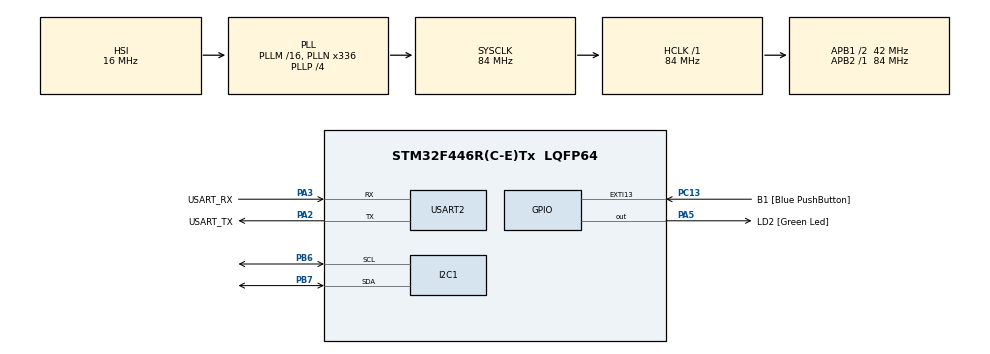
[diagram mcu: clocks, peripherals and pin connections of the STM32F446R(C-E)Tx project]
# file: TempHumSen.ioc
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Dma.Request0=USART2_TX
Dma.USART2_TX.0.Direction=DMA_MEMORY_TO_PERIPH
Dma.USART2_TX.0.FIFOMode=DMA_FIFOMODE_DISABLE
Dma.USART2_TX.0.Instance=DMA1_Stream6
Dma.USART2_TX.0.MemDataAlignment=DMA_MDATAALIGN_BYTE
Dma.USART2_TX.0.MemInc=DMA_MINC_ENABLE
Dma.USART2_TX.0.Mode=DMA_NORMAL
Dma.USART2_TX.0.PeriphDataAlignment=DMA_PDATAALIGN_BYTE
Dma.USART2_TX.0.PeriphInc=DMA_PINC_DISABLE
Dma.USART2_TX.0.Priority=DMA_PRIORITY_LOW
Mcu.Family=STM32F4
Mcu.Name=STM32F446R(C-E)Tx
Mcu.Package=LQFP64
NVIC.DMA1_Stream6_IRQn=true\:0\:0\:false\:false\:true\:false\:true\:true
NVIC.EXTI15_10_IRQn=true\:0\:0\:false\:false\:true\:true\:true\:true
NVIC.PriorityGroup=NVIC_PRIORITYGROUP_4
NVIC.TIM1_BRK_TIM9_IRQn=true\:0\:0\:false\:false\:true\:true\:true\:true
NVIC.TIM1_CC_IRQn=true\:0\:0\:false\:false\:true\:true\:true\:true
NVIC.TIM1_TRG_COM_TIM11_IRQn=true\:0\:0\:false\:false\:true\:true\:true\:true
NVIC.TIM1_UP_TIM10_IRQn=true\:0\:0\:false\:false\:true\:true\:true\:true
NVIC.TIM2_IRQn=true\:0\:0\:false\:false\:true\:true\:true\:true
PA13.GPIO_Label=TMS
PA13.Mode=Serial_Wire
PA13.Signal=SYS_JTMS-SWDIO
PA14.GPIO_Label=TCK
PA14.Mode=Serial_Wire
PA14.Signal=SYS_JTCK-SWCLK
PA2.GPIO_Label=USART_TX
PA2.Mode=Asynchronous
PA2.Signal=USART2_TX
PA3.GPIO_Label=USART_RX
PA3.Mode=Asynchronous
PA3.Signal=USART2_RX
PA5.GPIO_Label=LD2 [Green Led]
PA5.Signal=GPIO_Output
PB3.GPIO_Label=SWO
PB3.Signal=SYS_JTDO-SWO
PB6.GPIO_Pu=GPIO_PULLUP
PB6.Mode=I2C
PB6.Signal=I2C1_SCL
PB7.GPIO_Pu=GPIO_PULLUP
PB7.Mode=I2C
PB7.Signal=I2C1_SDA
PC13.GPIO_Label=B1 [Blue PushButton]
PC13.GPIO_ModeDefaultEXTI=GPIO_MODE_IT_FALLING
PC13.Signal=GPXTI13
PC14-OSC32_IN.Mode=LSE-External-Oscillator
PC14-OSC32_IN.Signal=RCC_OSC32_IN
PC15-OSC32_OUT.Mode=LSE-External-Oscillator
PC15-OSC32_OUT.Signal=RCC_OSC32_OUT
PH0-OSC_IN.Mode=HSE-External-Oscillator
PH0-OSC_IN.Signal=RCC_OSC_IN
PH1-OSC_OUT.Mode=HSE-External-Oscillator
PH1-OSC_OUT.Signal=RCC_OSC_OUT
ProjectManager.HeapSize=0x200
ProjectManager.StackSize=0x400
ProjectManager.TargetToolchain=CMake
RCC.48MHZClocksFreq_Value=84000000
RCC.AHBFreq_Value=84000000
RCC.APB1CLKDivider=RCC_HCLK_DIV2
RCC.APB1Freq_Value=42000000
RCC.APB1TimFreq_Value=84000000
RCC.APB2Freq_Value=84000000
RCC.APB2TimFreq_Value=84000000
RCC.CortexFreq_Value=84000000
RCC.FLatency-AdvancedSettings=FLASH_LATENCY_2
RCC.HCLKFreq_Value=84000000
RCC.HSE_VALUE=8000000
RCC.HSI_VALUE=16000000
RCC.PLLN=336
RCC.PLLP=RCC_PLLP_DIV4
RCC.SYSCLKFreq_VALUE=84000000
RCC.SYSCLKSource=RCC_SYSCLKSOURCE_PLLCLK
RCC.USBFreq_Value=168000000
RCC.VCOOutputFreq_Value=336000000
TIM1.Period=19999
TIM1.Prescaler=8399
TIM2.Period=999
TIM2.Prescaler=83
USART2.VirtualMode=VM_ASYNC
VP_TIM1_VS_ClockSourceINT.Mode=Internal
VP_TIM2_VS_ClockSourceINT.Mode=Internal
board=NUCLEO-F446RE

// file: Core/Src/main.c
/* USER CODE BEGIN Header */
/**
 ******************************************************************************
 * @file           : main.c
 * @brief          : Main program body
 ******************************************************************************
 * @attention
 *
 * Copyright (c) 2026 STMicroelectronics.
 * All rights reserved.
 *
 * This software is licensed under terms that can be found in the LICENSE file
 * in the root directory of this software component.
 * If no LICENSE file comes with this software, it is provided AS-IS.
 *
 ******************************************************************************
 */
/* USER CODE END Header */
#include "main.h"
#include "dma.h"
#include "i2c.h"
#include "tim.h"
#include "usart.h"
#include "gpio.h"

/* USER CODE BEGIN Includes */
#include "NanoEdgeAI.h"
#include "stdbool.h"
#include "stm32f4xx_hal.h"
#include "stm32f4xx_hal_gpio.h"
#include "stm32f4xx_hal_i2c.h"
#include "stm32f4xx_hal_rcc.h"
#include "stm32f4xx_hal_uart.h"
#include <stdio.h>
#include <string.h>

#define HTU21D_ADDR (0x40 << 1) // I2C address of the HTU21D sensor
#define Timeout_delay 100
#define BUFFER_SIZE 11
#define FEATURES_PER_SAMPLE 2
/* USER CODE END Includes */

/* USER CODE BEGIN PV */
uint8_t uart_tx_buffer[64];
uint8_t data[3];
uint8_t temp_cmd = 0xE3;
uint8_t hum_cmd = 0xE5;

typedef struct {
  uint8_t index;
} RingBuffer;

typedef struct {
  float data[BUFFER_SIZE * FEATURES_PER_SAMPLE];
  uint8_t count;
} RetrainingBuffer;

RingBuffer sensor_buffer = {0};        // initial learning (11 samples)
RetrainingBuffer retrain_buffer = {0}; // normal samples for retraining
enum neai_state neai_state_var = NEAI_NOT_INITIALIZED;
uint8_t neai_similarity = 0;

// Timer for retraining every hour
static volatile uint32_t retrain_timer_ms = 0;
#define RETRAINING_INTERVAL_MS (60 * 60 * 1000) // 3600000 ms = 1h
#define SIMILARITY_THRESHOLD 80                 // Threshold for normal samples

void perform_retraining(void) {
  if (retrain_buffer.count < 5) // Min 5 samples
  {
    uint16_t len = sprintf((char *)uart_tx_buffer,
                           "RETRAIN_SKIP: too few samples (%u)\r\n",
                           retrain_buffer.count);
    HAL_UART_Transmit(&huart2, uart_tx_buffer, len, 100);
    return;
  }

  uint16_t len = sprintf((char *)uart_tx_buffer, "RETRAIN_START: %u samples\r\n",
                         retrain_buffer.count);
  HAL_UART_Transmit(&huart2, uart_tx_buffer, len, 100);

  // Reinitialize model
  neai_state_var = neai_anomalydetection_init(true); // true = reset
  if (neai_state_var != NEAI_OK) {
    len = sprintf((char *)uart_tx_buffer, "RETRAIN_INIT_ERR:%d\r\n",
                  neai_state_var);
    HAL_UART_Transmit(&huart2, uart_tx_buffer, len, 100);
    return;
  }

  // Train on collected samples
  for (uint8_t i = 0; i < retrain_buffer.count; i++) {
    float sample[NEAI_INPUT_SIGNAL_LENGTH * NEAI_INPUT_AXIS_NUMBER];
    memcpy(sample, &retrain_buffer.data[i * FEATURES_PER_SAMPLE],
           FEATURES_PER_SAMPLE * sizeof(float));

    neai_state_var = neai_anomalydetection_learn(sample);
    if (neai_state_var != NEAI_LEARNING_IN_PROGRESS &&
        neai_state_var != NEAI_LEARNING_DONE) {
      len = sprintf((char *)uart_tx_buffer, "RETRAIN_LEARN_ERR:%d\r\n",
                    neai_state_var);
      HAL_UART_Transmit(&huart2, uart_tx_buffer, len, 100);
      return;
    }
  }

  // Finalize learning - model has been trained
  retrain_buffer.count = 0; // Clear buffer

  len = sprintf((char *)uart_tx_buffer, "RETRAIN_DONE\r\n");
  HAL_UART_Transmit(&huart2, uart_tx_buffer, len, 100);
}

void add_sensor_data(float temp, float hum) {
  float sample[NEAI_INPUT_SIGNAL_LENGTH * NEAI_INPUT_AXIS_NUMBER] = {temp, hum};
  uint8_t *msg_ptr = uart_tx_buffer;
  int msg_len = 0;

  // Phase 1: Initial learning (11 samples without filtering)
  if (sensor_buffer.index < BUFFER_SIZE) {
    neai_state_var = neai_anomalydetection_learn(sample);
    sensor_buffer.index++;

    if (neai_state_var == NEAI_LEARNING_IN_PROGRESS) {
      msg_len = sprintf((char *)msg_ptr, "LEARNING:%u/%u\r\n",
                        sensor_buffer.index, BUFFER_SIZE);
    } else if (neai_state_var == NEAI_LEARNING_DONE) {
      msg_len = sprintf((char *)msg_ptr, "LEARNING_DONE\r\n");
    } else {
      msg_len = sprintf((char *)msg_ptr, "LEARN_ERR:%d\r\n", neai_state_var);
    }
  }
  // Phase 2: Detection + filtering for retraining
  else {
    neai_state_var = neai_anomalydetection_detect(sample, &neai_similarity);
    if (neai_state_var == NEAI_OK) {
      // Filter - if similarity > SIMILARITY_THRESHOLD, add to retrain buffer
      if (neai_similarity > SIMILARITY_THRESHOLD) {
        if (retrain_buffer.count < BUFFER_SIZE) {
          memcpy(
              &retrain_buffer.data[retrain_buffer.count * FEATURES_PER_SAMPLE],
              sample, FEATURES_PER_SAMPLE * sizeof(float));
          retrain_buffer.count++;
          msg_len = sprintf((char *)msg_ptr, "ANOMALY:%u [NORMAL]\r\n",
                            neai_similarity);
        } else {
          msg_len =
              sprintf((char *)msg_ptr, "ANOMALY:%u [NORMAL-BUFFER FULL]\r\n",
                      neai_similarity);
        }
      } else {
        msg_len = sprintf((char *)msg_ptr, "ANOMALY:%u [ANOMALY]\r\n",
                          neai_similarity);
      }
    } else {
      msg_len = sprintf((char *)msg_ptr, "DETECT_ERR:%d\r\n", neai_state_var);
    }
  }

  if (msg_len > 0 && msg_len < 64) {
    HAL_UART_Transmit(&huart2, uart_tx_buffer, msg_len, 100);
  }
}
/* USER CODE END PV */

void SystemClock_Config(void);

int main(void)
{

  /* MCU Configuration--------------------------------------------------------*/

  /* Reset of all peripherals, Initializes the Flash interface and the Systick. */
  HAL_Init();

  /* Configure the system clock */
  SystemClock_Config();

  /* Initialize all configured peripherals */
  MX_GPIO_Init();
  MX_DMA_Init();
  MX_I2C1_Init();
  MX_USART2_UART_Init();
  MX_TIM1_Init();
  MX_TIM2_Init();
  /* USER CODE BEGIN 2 */
  HAL_TIM_Base_Start_IT(&htim1);
  HAL_TIM_Base_Start_IT(&htim2);

  neai_state_var = neai_anomalydetection_init(false);
  if (neai_state_var != NEAI_OK) {
    uint16_t len =
        sprintf((char *)uart_tx_buffer, "NEAI_INIT_ERR:%d\r\n", neai_state_var);
    HAL_UART_Transmit(&huart2, uart_tx_buffer, len, 100);
  }
  /* USER CODE END 2 */

  /* Infinite loop */
  /* USER CODE BEGIN WHILE */
  while (1) {
    // Check if it's time to perform retraining
    if (retrain_timer_ms >= RETRAINING_INTERVAL_MS) {
      retrain_timer_ms = 0; // Reset timer
      perform_retraining();
    }

    if (HAL_I2C_Master_Transmit(&hi2c1, HTU21D_ADDR, &temp_cmd, 1,
                                Timeout_delay) == HAL_OK) {
      HAL_Delay(50);
      if (HAL_I2C_Master_Receive(&hi2c1, HTU21D_ADDR, data, 3, Timeout_delay) ==
          HAL_OK) {
           int raw_temp =
             ((data[0] << 8) | data[1]) & 0xFFFC; // mask status bits
        float temperature = -46.85f + (175.72f * raw_temp / 65536.0f);

        if (HAL_I2C_Master_Transmit(&hi2c1, HTU21D_ADDR, &hum_cmd, 1,
                                    Timeout_delay) == HAL_OK) {
          HAL_Delay(50);
          if (HAL_I2C_Master_Receive(&hi2c1, HTU21D_ADDR, data, 3,
                                     Timeout_delay) == HAL_OK) {
               int raw_hum =
                 ((data[0] << 8) | data[1]) & 0xFFFC; // mask status bits
            float humidity = -6.0f + (125.0f * raw_hum / 65536.0f);

            add_sensor_data(temperature, humidity);

            sprintf((char *)uart_tx_buffer,
                    "Temp: %.2f *C, Humidity: %.2f %%\r\n", temperature,
                    humidity);
            HAL_UART_Transmit(&huart2, uart_tx_buffer,
                              strlen((char *)uart_tx_buffer), 500);
          }
        }
      }
    }
    HAL_Delay(2000); // Wait before the next reading

    /* USER CODE END WHILE */

  }
}

void SystemClock_Config(void)
{
  RCC_OscInitTypeDef RCC_OscInitStruct = {0};
  RCC_ClkInitTypeDef RCC_ClkInitStruct = {0};

  /** Configure the main internal regulator output voltage
  */
  __HAL_RCC_PWR_CLK_ENABLE();
  __HAL_PWR_VOLTAGESCALING_CONFIG(PWR_REGULATOR_VOLTAGE_SCALE3);

  /** Initializes the RCC Oscillators according to the specified parameters
  * in the RCC_OscInitTypeDef structure.
  */
  RCC_OscInitStruct.OscillatorType = RCC_OSCILLATORTYPE_HSI;
  RCC_OscInitStruct.HSIState = RCC_HSI_ON;
  RCC_OscInitStruct.HSICalibrationValue = RCC_HSICALIBRATION_DEFAULT;
  RCC_OscInitStruct.PLL.PLLState = RCC_PLL_ON;
  RCC_OscInitStruct.PLL.PLLSource = RCC_PLLSOURCE_HSI;
  RCC_OscInitStruct.PLL.PLLM = 16;
  RCC_OscInitStruct.PLL.PLLN = 336;
  RCC_OscInitStruct.PLL.PLLP = RCC_PLLP_DIV4;
  RCC_OscInitStruct.PLL.PLLQ = 2;
  RCC_OscInitStruct.PLL.PLLR = 2;
  if (HAL_RCC_OscConfig(&RCC_OscInitStruct) != HAL_OK)
  {
    Error_Handler();
  }

  /** Initializes the CPU, AHB and APB buses clocks
  */
  RCC_ClkInitStruct.ClockType = RCC_CLOCKTYPE_HCLK|RCC_CLOCKTYPE_SYSCLK
                              |RCC_CLOCKTYPE_PCLK1|RCC_CLOCKTYPE_PCLK2;
  RCC_ClkInitStruct.SYSCLKSource = RCC_SYSCLKSOURCE_PLLCLK;
  RCC_ClkInitStruct.AHBCLKDivider = RCC_SYSCLK_DIV1;
  RCC_ClkInitStruct.APB1CLKDivider = RCC_HCLK_DIV2;
  RCC_ClkInitStruct.APB2CLKDivider = RCC_HCLK_DIV1;

  if (HAL_RCC_ClockConfig(&RCC_ClkInitStruct, FLASH_LATENCY_2) != HAL_OK)
  {
    Error_Handler();
  }
}

/* USER CODE BEGIN 4 */
void HAL_TIM_PeriodElapsedCallback(TIM_HandleTypeDef *htim) {
  if (htim->Instance == TIM1) {
    // Toggle LED
    HAL_GPIO_TogglePin(LD2_GPIO_Port, LD2_Pin);
  }
  if (htim->Instance == TIM2) {
    /* Increment retraining timer (increment every 1ms, TIM2 is
    configured for 1ms period) */
    retrain_timer_ms++;
  }
}
/* USER CODE END 4 */

void Error_Handler(void)
{
  __disable_irq();
  while (1) {
  }
}
#ifdef USE_FULL_ASSERT
/**
  * @brief  Reports the name of the source file and the source line number
  *         where the assert_param error has occurred.
  * @param  file: pointer to the source file name
  * @param  line: assert_param error line source number
  * @retval None
  */
void assert_failed(uint8_t *file, uint32_t line)
{
  /* USER CODE BEGIN 6 */
  /* User can add his own implementation to report the file name and line
     number, ex: printf("Wrong parameters value: file %s on line %d\r\n", file,
     line) */
  /* USER CODE END 6 */
}
#endif /* USE_FULL_ASSERT */
